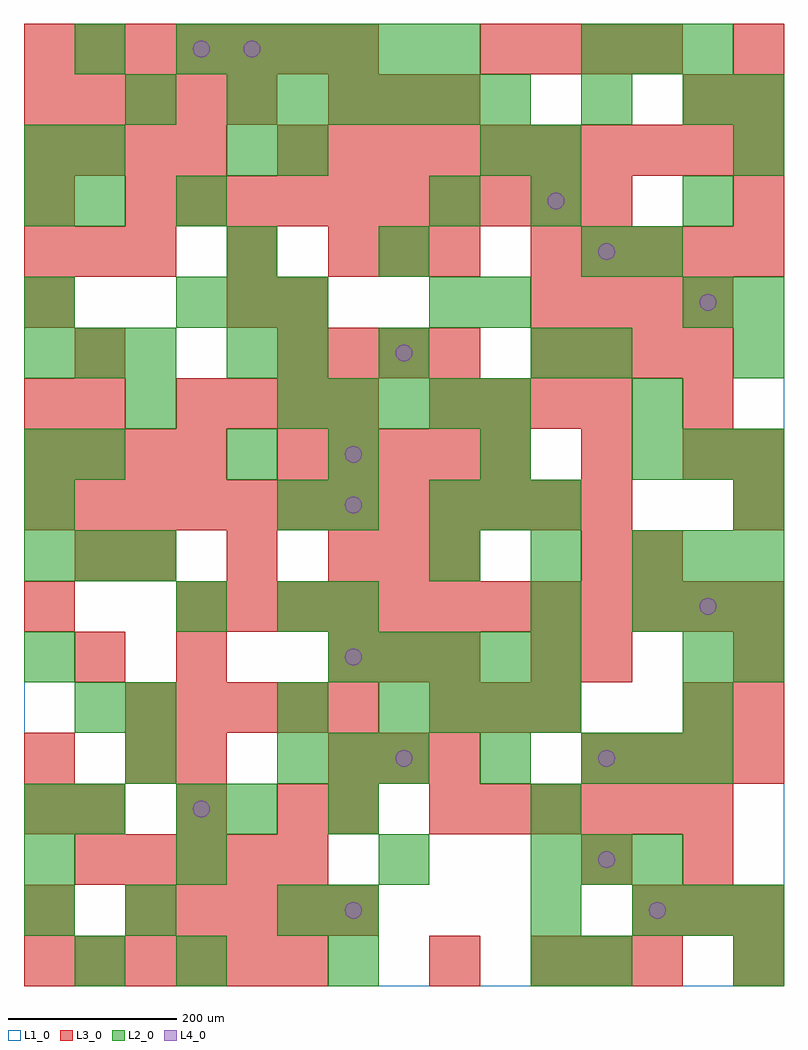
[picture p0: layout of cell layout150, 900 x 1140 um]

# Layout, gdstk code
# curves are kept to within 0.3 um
import gdstk
lib = gdstk.Library(unit=1e-6, precision=1e-09)
def R(c, l, rs):  # rectangles x0, y0, x1, y1
    for r in rs: c.add(gdstk.rectangle(r[:2], r[2:], *l))
def A(c, l, x, y, w, h, nx, ny, dx, dy):  # array of equal rectangles
    R(c, l, [(x+i*dx, y+j*dy, x+i*dx+w, y+j*dy+h) for i in range(nx) for j in range(ny)])
def P(c, l, *ps):  # polygons
    for p in ps: c.add(gdstk.Polygon(p, *l))
L1_0 = (1, 0)
L2_0 = (2, 0)
L3_0 = (3, 0)
L4_0 = (4, 0)

layout150 = lib.new_cell('layout150')
R(layout150, L1_0, [(0,0,900,1140)])
A(layout150, L2_0, 0, 60, 60, 60, 1, 3, 0, 60)
A(layout150, L2_0, 720, 60, 60, 60, 3, 2, 60, 360)
A(layout150, L2_0, 600, 120, 60, 60, 3, 1, 60, 0)
A(layout150, L2_0, 300, 240, 60, 60, 3, 1, 60, 0)
A(layout150, L2_0, 660, 240, 60, 60, 3, 2, 60, 840)
A(layout150, L2_0, 60, 300, 60, 60, 1, 3, 0, 300)
A(layout150, L2_0, 120, 300, 60, 60, 1, 3, 0, 360)
A(layout150, L2_0, 300, 300, 60, 60, 1, 3, 0, 120)
A(layout150, L2_0, 420, 300, 60, 60, 4, 1, 60, 0)
A(layout150, L2_0, 360, 360, 60, 60, 5, 1, 60, 0)
A(layout150, L2_0, 780, 360, 60, 60, 1, 3, 0, 120)
A(layout150, L2_0, 0, 480, 60, 60, 3, 2, 60, 240)
A(layout150, L2_0, 480, 480, 60, 60, 3, 1, 120, 0)
A(layout150, L2_0, 840, 480, 60, 60, 1, 3, 0, 60)
A(layout150, L2_0, 480, 540, 60, 60, 3, 1, 60, 0)
A(layout150, L2_0, 240, 600, 60, 60, 1, 4, 0, 120)
A(layout150, L2_0, 360, 600, 60, 60, 3, 1, 180, 0)
A(layout150, L2_0, 300, 660, 60, 60, 5, 1, 60, 0)
A(layout150, L2_0, 180, 780, 60, 60, 3, 1, 60, 0)
A(layout150, L2_0, 780, 780, 60, 60, 1, 3, 0, 120)
A(layout150, L2_0, 240, 1020, 60, 60, 6, 1, 60, 0)
A(layout150, L2_0, 180, 1080, 60, 60, 6, 1, 60, 0)
R(layout150, L2_0, [(60,0,120,60), (180,0,240,60), (360,0,420,60), (600,0,660,60), (660,0,720,60), (840,0,900,60), (120,60,180,120), (300,60,360,120), (360,60,420,120), (600,60,660,120), (180,120,240,180), (420,120,480,180), (60,180,120,240), (180,180,240,240), (240,180,300,240), (360,180,420,240), (600,180,660,240), (120,240,180,300), (540,240,600,300), (780,300,840,360), (0,360,60,420), (840,360,900,420), (180,420,240,480), (360,420,420,480), (600,420,660,480), (0,540,60,600), (360,540,420,600), (0,600,60,660), (720,660,780,720), (300,720,360,780), (420,720,480,780), (600,720,660,780), (660,720,720,780), (840,720,900,780), (0,780,60,840), (480,780,540,840), (540,780,600,840), (840,780,900,840), (420,840,480,900), (660,840,720,900), (720,840,780,900), (0,900,60,960), (180,900,240,960), (480,900,540,960), (600,900,660,960), (0,960,60,1020), (60,960,120,1020), (300,960,360,1020), (540,960,600,1020), (600,960,660,1020), (840,960,900,1020), (660,1020,720,1080), (840,1020,900,1080), (60,1080,120,1140)])
A(layout150, L3_0, 0, 0, 60, 60, 6, 1, 60, 0)
A(layout150, L3_0, 600, 0, 60, 60, 3, 1, 60, 0)
A(layout150, L3_0, 120, 60, 60, 60, 5, 2, 60, 240)
A(layout150, L3_0, 720, 60, 60, 60, 3, 1, 60, 0)
A(layout150, L3_0, 60, 120, 60, 60, 5, 1, 60, 0)
A(layout150, L3_0, 60, 180, 60, 60, 3, 1, 120, 0)
A(layout150, L3_0, 480, 180, 60, 60, 6, 1, 60, 0)
A(layout150, L3_0, 360, 240, 60, 60, 3, 2, 60, 120)
A(layout150, L3_0, 660, 240, 60, 60, 4, 1, 60, 0)
A(layout150, L3_0, 480, 300, 60, 60, 3, 1, 60, 0)
A(layout150, L3_0, 660, 360, 60, 60, 1, 3, 0, 120)
A(layout150, L3_0, 180, 420, 60, 60, 12, 1, 60, 0)
A(layout150, L3_0, 120, 480, 60, 60, 3, 1, 120, 0)
A(layout150, L3_0, 0, 540, 60, 60, 12, 1, 60, 0)
A(layout150, L3_0, 0, 600, 60, 60, 4, 2, 60, 360)
A(layout150, L3_0, 300, 600, 60, 60, 5, 1, 60, 0)
A(layout150, L3_0, 0, 660, 60, 60, 1, 3, 0, 120)
A(layout150, L3_0, 180, 660, 60, 60, 4, 1, 60, 0)
A(layout150, L3_0, 480, 660, 60, 60, 4, 1, 60, 0)
A(layout150, L3_0, 300, 720, 60, 60, 4, 1, 60, 0)
A(layout150, L3_0, 600, 720, 60, 60, 4, 2, 60, 60)
A(layout150, L3_0, 0, 840, 60, 60, 3, 1, 60, 0)
A(layout150, L3_0, 360, 840, 60, 60, 3, 2, 60, 180)
A(layout150, L3_0, 600, 840, 60, 60, 5, 1, 60, 0)
A(layout150, L3_0, 120, 900, 60, 60, 10, 1, 60, 0)
A(layout150, L3_0, 300, 960, 60, 60, 10, 1, 60, 0)
A(layout150, L3_0, 0, 1020, 60, 60, 5, 1, 60, 0)
A(layout150, L3_0, 0, 1080, 60, 60, 7, 1, 60, 0)
A(layout150, L3_0, 540, 1080, 60, 60, 4, 1, 60, 0)
R(layout150, L3_0, [(480,0,540,60), (840,0,900,60), (0,60,60,120), (660,120,720,180), (780,120,840,180), (0,180,60,240), (360,180,420,240), (0,240,60,300), (120,240,180,300), (180,240,240,300), (780,300,840,360), (840,300,900,360), (60,360,120,420), (180,360,240,420), (600,360,660,420), (840,360,900,420), (0,420,60,480), (60,480,120,540), (420,480,480,540), (480,480,540,540), (720,480,780,540), (840,540,900,600), (780,600,840,660), (840,600,900,660), (60,660,120,720), (780,660,840,720), (60,720,120,780), (240,780,300,840), (300,780,360,840), (240,840,300,900), (840,900,900,960), (780,1020,840,1080), (840,1020,900,1080), (840,1080,900,1140)])
P(layout150, L4_0, [(220,210),(219.239,213.827),(217.071,217.071),(213.827,219.239),(210,220),(206.173,219.239),(202.929,217.071),(200.761,213.827),(200,210),(200.761,206.173),(202.929,202.929),(206.173,200.761),(210,200),(213.827,200.761),(217.071,202.929),(219.239,206.173)],
  [(220,1110),(219.239,1113.827),(217.071,1117.071),(213.827,1119.239),(210,1120),(206.173,1119.239),(202.929,1117.071),(200.761,1113.827),(200,1110),(200.761,1106.173),(202.929,1102.929),(206.173,1100.761),(210,1100),(213.827,1100.761),(217.071,1102.929),(219.239,1106.173)],
  [(280,1110),(279.239,1113.827),(277.071,1117.071),(273.827,1119.239),(270,1120),(266.173,1119.239),(262.929,1117.071),(260.761,1113.827),(260,1110),(260.761,1106.173),(262.929,1102.929),(266.173,1100.761),(270,1100),(273.827,1100.761),(277.071,1102.929),(279.239,1106.173)],
  [(400,90),(399.239,93.827),(397.071,97.071),(393.827,99.239),(390,100),(386.173,99.239),(382.929,97.071),(380.761,93.827),(380,90),(380.761,86.173),(382.929,82.929),(386.173,80.761),(390,80),(393.827,80.761),(397.071,82.929),(399.239,86.173)],
  [(400,390),(399.239,393.827),(397.071,397.071),(393.827,399.239),(390,400),(386.173,399.239),(382.929,397.071),(380.761,393.827),(380,390),(380.761,386.173),(382.929,382.929),(386.173,380.761),(390,380),(393.827,380.761),(397.071,382.929),(399.239,386.173)],
  [(400,570),(399.239,573.827),(397.071,577.071),(393.827,579.239),(390,580),(386.173,579.239),(382.929,577.071),(380.761,573.827),(380,570),(380.761,566.173),(382.929,562.929),(386.173,560.761),(390,560),(393.827,560.761),(397.071,562.929),(399.239,566.173)],
  [(400,630),(399.239,633.827),(397.071,637.071),(393.827,639.239),(390,640),(386.173,639.239),(382.929,637.071),(380.761,633.827),(380,630),(380.761,626.173),(382.929,622.929),(386.173,620.761),(390,620),(393.827,620.761),(397.071,622.929),(399.239,626.173)],
  [(460,270),(459.239,273.827),(457.071,277.071),(453.827,279.239),(450,280),(446.173,279.239),(442.929,277.071),(440.761,273.827),(440,270),(440.761,266.173),(442.929,262.929),(446.173,260.761),(450,260),(453.827,260.761),(457.071,262.929),(459.239,266.173)],
  [(460,750),(459.239,753.827),(457.071,757.071),(453.827,759.239),(450,760),(446.173,759.239),(442.929,757.071),(440.761,753.827),(440,750),(440.761,746.173),(442.929,742.929),(446.173,740.761),(450,740),(453.827,740.761),(457.071,742.929),(459.239,746.173)],
  [(640,930),(639.239,933.827),(637.071,937.071),(633.827,939.239),(630,940),(626.173,939.239),(622.929,937.071),(620.761,933.827),(620,930),(620.761,926.173),(622.929,922.929),(626.173,920.761),(630,920),(633.827,920.761),(637.071,922.929),(639.239,926.173)],
  [(700,150),(699.239,153.827),(697.071,157.071),(693.827,159.239),(690,160),(686.173,159.239),(682.929,157.071),(680.761,153.827),(680,150),(680.761,146.173),(682.929,142.929),(686.173,140.761),(690,140),(693.827,140.761),(697.071,142.929),(699.239,146.173)],
  [(700,270),(699.239,273.827),(697.071,277.071),(693.827,279.239),(690,280),(686.173,279.239),(682.929,277.071),(680.761,273.827),(680,270),(680.761,266.173),(682.929,262.929),(686.173,260.761),(690,260),(693.827,260.761),(697.071,262.929),(699.239,266.173)],
  [(700,870),(699.239,873.827),(697.071,877.071),(693.827,879.239),(690,880),(686.173,879.239),(682.929,877.071),(680.761,873.827),(680,870),(680.761,866.173),(682.929,862.929),(686.173,860.761),(690,860),(693.827,860.761),(697.071,862.929),(699.239,866.173)],
  [(760,90),(759.239,93.827),(757.071,97.071),(753.827,99.239),(750,100),(746.173,99.239),(742.929,97.071),(740.761,93.827),(740,90),(740.761,86.173),(742.929,82.929),(746.173,80.761),(750,80),(753.827,80.761),(757.071,82.929),(759.239,86.173)],
  [(820,450),(819.239,453.827),(817.071,457.071),(813.827,459.239),(810,460),(806.173,459.239),(802.929,457.071),(800.761,453.827),(800,450),(800.761,446.173),(802.929,442.929),(806.173,440.761),(810,440),(813.827,440.761),(817.071,442.929),(819.239,446.173)],
  [(820,810),(819.239,813.827),(817.071,817.071),(813.827,819.239),(810,820),(806.173,819.239),(802.929,817.071),(800.761,813.827),(800,810),(800.761,806.173),(802.929,802.929),(806.173,800.761),(810,800),(813.827,800.761),(817.071,802.929),(819.239,806.173)])

lib.write_gds('layout150.gds')
